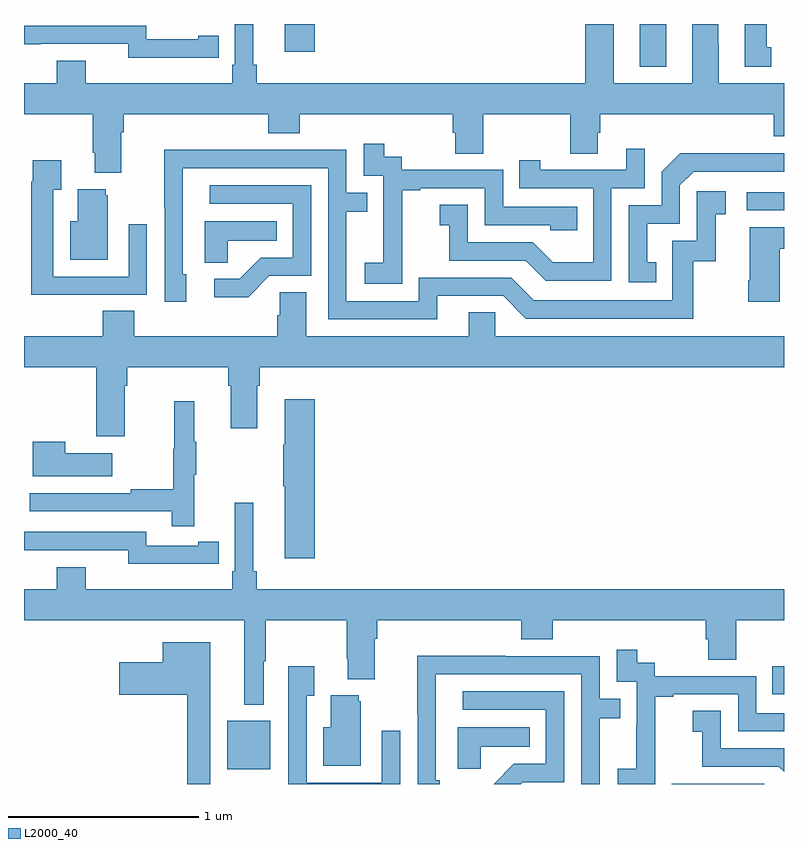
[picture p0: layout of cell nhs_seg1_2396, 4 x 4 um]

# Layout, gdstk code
import gdstk
lib = gdstk.Library(unit=1e-6, precision=1e-09)
def R(c, l, rs):  # rectangles x0, y0, x1, y1
    for r in rs: c.add(gdstk.rectangle(r[:2], r[2:], *l))
def P(c, l, *ps):  # polygons
    for p in ps: c.add(gdstk.Polygon(p, *l))
L2000_40 = (2000, 40)

nhs_seg1_2396 = lib.new_cell('nhs_seg1_2396')
R(nhs_seg1_2396, L2000_40, [(242.069,556.277,242.296,556.531), (244.939,556.671,245,556.819), (244.803,559.218,245,559.314), (244.241,559.973,244.381,560.199), (242.372,560.052,242.531,560.199)])
P(nhs_seg1_2396, L2000_40, [(241.513,559.628),(241.526,559.628),(241.526,559.724),(242.285,559.724),(242.285,559.625),(242.45,559.625),(242.45,559.724),(243.257,559.724),(243.257,559.626),(243.269,559.626),(243.269,559.516),(243.417,559.516),(243.417,559.724),(243.874,559.724),(243.874,559.516),(244.021,559.516),(244.021,559.626),(244.034,559.626),(244.034,559.724),(244.946,559.724),(244.946,559.607),(245,559.607),(245,559.888),(244.657,559.888),(244.657,560.099),(244.654,560.099),(244.654,560.199),(244.517,560.199),(244.517,559.888),(244.105,559.888),(244.105,560.199),(243.953,560.199),(243.953,559.888),(242.225,559.888),(242.225,559.984),(242.206,559.984),(242.206,560.199),(242.109,560.199),(242.109,559.984),(242.096,559.984),(242.096,559.888),(241.324,559.888),(241.324,560.005),(241.172,560.005),(241.172,559.888),(241,559.888),(241,559.724),(241.361,559.724),(241.361,559.522),(241.373,559.522),(241.373,559.415),(241.513,559.415)],
  [(244.933,560.076),(244.909,560.076),(244.909,560.199),(244.793,560.199),(244.793,559.974),(244.933,559.974)],
  [(241.916,560.022),(242.024,560.022),(242.024,560.138),(241.916,560.138),(241.916,560.118),(241.644,560.118),(241.644,560.19),(241,560.19),(241,560.093),(241.088,560.093),(241.088,560.094),(241.548,560.094),(241.548,560.021),(241.916,560.021)],
  [(242.991,559.039),(242.99,559.039),(242.99,559.323),(243.085,559.323),(243.085,559.335),(243.426,559.335),(243.426,559.14),(243.771,559.14),(243.771,559.113),(243.911,559.113),(243.911,559.236),(243.522,559.236),(243.522,559.431),(242.988,559.431),(242.988,559.5),(242.896,559.5),(242.896,559.57),(242.787,559.57),(242.787,559.401),(242.892,559.401),(242.892,559.172),(242.891,559.172),(242.891,558.943),(242.793,558.943),(242.793,558.833),(242.991,558.833)],
  [(244.092,559.335),(244.266,559.335),(244.266,559.543),(244.169,559.543),(244.169,559.431),(243.718,559.431),(243.718,559.483),(243.607,559.483),(243.607,559.335),(243.996,559.335),(243.996,558.946),(243.782,558.946),(243.678,559.05),(243.336,559.05),(243.336,559.249),(243.189,559.249),(243.189,559.139),(243.238,559.139),(243.238,558.954),(243.641,558.954),(243.746,558.849),(244.092,558.849)],
  [(243.175,558.768),(243.522,558.768),(243.642,558.648),(244.522,558.648),(244.522,558.951),(244.64,558.951),(244.64,559.197),(244.693,559.197),(244.693,559.318),(244.542,559.318),(244.542,559.059),(244.413,559.059),(244.413,558.744),(243.684,558.744),(243.564,558.864),(243.078,558.864),(243.078,558.741),(242.697,558.741),(242.697,559.21),(242.807,559.21),(242.807,559.311),(242.697,559.311),(242.697,559.536),(242.201,559.536),(242.201,559.538),(241.738,559.538),(241.738,559.231),(241.74,559.231),(241.74,558.738),(241.855,558.738),(241.855,558.882),(241.836,558.882),(241.836,559.44),(242.601,559.44),(242.601,558.645),(243.175,558.645)],
  [(244.328,558.945),(244.279,558.945),(244.279,559.149),(244.452,559.149),(244.452,559.35),(244.524,559.422),(245,559.422),(245,559.518),(244.862,559.518),(244.862,559.52),(244.454,559.52),(244.356,559.422),(244.356,559.245),(244.182,559.245),(244.182,558.84),(244.328,558.84)],
  [(241.331,558.774),(241.647,558.774),(241.647,559.144),(241.551,559.144),(241.551,558.87),(241.155,558.87),(241.155,559.327),(241.195,559.327),(241.195,559.483),(241.047,559.483),(241.047,559.37),(241.039,559.37),(241.039,558.773),(241.331,558.773)],
  [(242.292,558.873),(242.511,558.873),(242.511,559.35),(241.977,559.35),(241.977,559.254),(242.415,559.254),(242.415,558.969),(242.246,558.969),(242.135,558.858),(242.001,558.858),(242.001,558.761),(242.179,558.761)],
  [(241.441,559.299),(241.43,559.299),(241.43,559.33),(241.283,559.33),(241.283,559.162),(241.244,559.162),(241.244,558.959),(241.441,558.959)],
  [(242.073,559.058),(242.33,559.058),(242.33,559.162),(241.952,559.162),(241.952,558.943),(242.073,558.943)],
  [(244.978,559.015),(245,559.015),(245,559.129),(244.82,559.129),(244.82,558.85),(244.813,558.85),(244.813,558.738),(244.978,558.738)],
  [(241.531,558.296),(241.544,558.296),(241.544,558.392),(242.075,558.392),(242.075,558.296),(242.087,558.296),(242.087,558.072),(242.227,558.072),(242.227,558.296),(242.24,558.296),(242.24,558.392),(245,558.392),(245,558.556),(243.48,558.556),(243.48,558.683),(243.341,558.683),(243.341,558.556),(242.485,558.556),(242.485,558.788),(242.346,558.788),(242.346,558.665),(242.333,558.665),(242.333,558.556),(241.58,558.556),(241.58,558.689),(241.415,558.689),(241.415,558.556),(241,558.556),(241,558.392),(241.379,558.392),(241.379,558.03),(241.531,558.03)],
  [(242.531,558.223),(242.372,558.223),(242.372,557.984),(242.365,557.984),(242.365,557.767),(242.372,557.767),(242.372,557.388),(242.531,557.388)],
  [(241.895,557.827),(241.906,557.827),(241.906,558.001),(241.895,558.001),(241.895,558.214),(241.792,558.214),(241.792,557.964),(241.785,557.964),(241.785,557.75),(241.561,557.75),(241.561,557.73),(241.029,557.73),(241.029,557.634),(241.777,557.634),(241.777,557.556),(241.895,557.556)],
  [(241.465,557.941),(241.217,557.941),(241.217,558.001),(241.046,558.001),(241.046,557.819),(241.465,557.819)],
  [(242.263,556.844),(242.273,556.844),(242.273,557.06),(242.698,557.06),(242.698,556.858),(242.705,556.858),(242.705,556.751),(242.845,556.751),(242.845,556.964),(242.858,556.964),(242.858,557.06),(243.617,557.06),(243.617,556.961),(243.782,556.961),(243.782,557.06),(244.589,557.06),(244.589,556.962),(244.601,556.962),(244.601,556.852),(244.749,556.852),(244.749,557.06),(245,557.06),(245,557.224),(242.225,557.224),(242.225,557.32),(242.206,557.32),(242.206,557.68),(242.109,557.68),(242.109,557.32),(242.096,557.32),(242.096,557.224),(241.324,557.224),(241.324,557.341),(241.172,557.341),(241.172,557.224),(241,557.224),(241,557.06),(242.159,557.06),(242.159,556.616),(242.263,556.616)],
  [(241.916,557.358),(242.024,557.358),(242.024,557.474),(241.916,557.474),(241.916,557.454),(241.644,557.454),(241.644,557.526),(241,557.526),(241,557.429),(241.088,557.429),(241.088,557.43),(241.548,557.43),(241.548,557.357),(241.916,557.357)],
  [(241.981,556.945),(241.73,556.945),(241.73,556.84),(241.5,556.84),(241.5,556.67),(241.86,556.67),(241.86,556.199),(241.981,556.199)],
  [(244.323,556.375),(244.322,556.375),(244.322,556.659),(244.417,556.659),(244.417,556.671),(244.758,556.671),(244.758,556.476),(245,556.476),(245,556.572),(244.854,556.572),(244.854,556.767),(244.32,556.767),(244.32,556.836),(244.228,556.836),(244.228,556.906),(244.119,556.906),(244.119,556.737),(244.224,556.737),(244.224,556.508),(244.223,556.508),(244.223,556.279),(244.125,556.279),(244.125,556.199),(244.323,556.199)],
  [(243.187,556.218),(243.168,556.218),(243.168,556.776),(243.933,556.776),(243.933,556.199),(244.029,556.199),(244.029,556.546),(244.139,556.546),(244.139,556.647),(244.029,556.647),(244.029,556.872),(243.533,556.872),(243.533,556.874),(243.07,556.874),(243.07,556.567),(243.072,556.567),(243.072,556.199),(243.187,556.199)],
  [(242.979,556.48),(242.883,556.48),(242.883,556.206),(242.487,556.206),(242.487,556.663),(242.527,556.663),(242.527,556.819),(242.391,556.819),(242.391,556.199),(242.979,556.199)],
  [(243.624,556.209),(243.843,556.209),(243.843,556.686),(243.309,556.686),(243.309,556.59),(243.747,556.59),(243.747,556.305),(243.578,556.305),(243.472,556.199),(243.614,556.199)],
  [(242.773,556.635),(242.762,556.635),(242.762,556.666),(242.615,556.666),(242.615,556.498),(242.576,556.498),(242.576,556.295),(242.773,556.295)],
  [(245,556.386),(244.668,556.386),(244.668,556.585),(244.521,556.585),(244.521,556.475),(244.57,556.475),(244.57,556.29),(244.973,556.29),(245,556.263)],
  [(243.405,556.394),(243.662,556.394),(243.662,556.498),(243.284,556.498),(243.284,556.279),(243.405,556.279)],
  [(244.896,556.2),(244.41,556.2),(244.41,556.199),(244.897,556.199)])

lib.write_gds('nhs_seg1_2396.gds')
